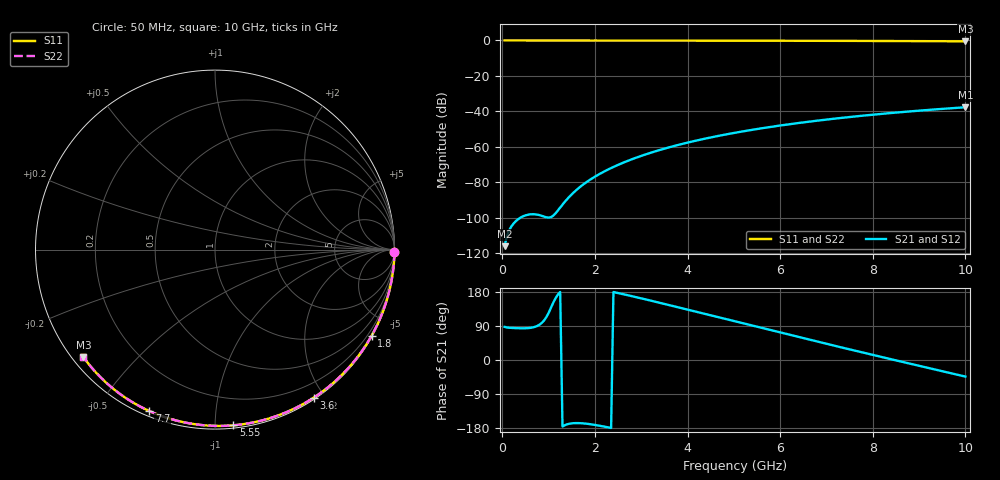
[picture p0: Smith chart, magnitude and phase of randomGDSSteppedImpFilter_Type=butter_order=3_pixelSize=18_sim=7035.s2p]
! freq	dB(S11)	phase(S11)	dB(S12)	phase(S12)
!  dB(S21)	phase(S21)	dB(S22)	phase(S22)
!S-par simulation data
#  GHz  S  DB  R 50
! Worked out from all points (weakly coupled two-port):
!   200 points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, 50 MHz to 10 GHz, reference 50 ohm
!   highest |S21| = -37.68 dB at 10 GHz (marker M1); lowest = -116.1 dB at 50 MHz (marker M2)
!   lowest |S11| = -0.5 dB at 10 GHz (marker M3), VSWR 36.42, Z = 1.55 - j17.8 ohm
!   |S11| at or under -10 dB: nowhere
!   |S22| runs from -0.5 to 0.0 dB; largest |S21 - S12| = 0
!   S11 on the Smith chart (normalised r, x): 50 MHz: open; 1.8 GHz: 0.03, -3.89; 3.6 GHz: 0.02, -1.87; 5.55 GHz: 0.02, -1.11; 7.7 GHz: 0.02, -0.67; 10 GHz: 0.03, -0.36
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0.05  -0.00 -0.8  -116.06 87.4  -116.06 87.4  -0.00 -0.8
0.45  -0.01 -7.3  -99.20 83.6  -99.20 83.6  -0.01 -7.3
0.9  -0.02 -14.6  -99.35 104.0  -99.35 104.0  -0.02 -14.6
1.75  -0.04 -28.1  -81.21 -167.3  -81.21 -167.3  -0.04 -28.1
1.8  -0.04 -28.9  -80.26 -167.9  -80.26 -167.9  -0.04 -28.8
1.85  -0.04 -29.6  -79.36 -168.6  -79.36 -168.6  -0.04 -29.6
2  -0.04 -32.0  -76.86 -171.3  -76.86 -171.3  -0.04 -32.0
2.15  -0.04 -34.3  -74.62 -174.5  -74.62 -174.5  -0.04 -34.3
2.35  -0.05 -37.4  -71.98 -179.4  -71.98 -179.4  -0.05 -37.4
2.55  -0.05 -40.5  -69.62 175.3  -69.62 175.3  -0.05 -40.5
2.95  -0.06 -46.6  -65.58 164.1  -65.58 164.1  -0.06 -46.6
3.4  -0.07 -53.4  -61.80 150.9  -61.80 150.9  -0.07 -53.4
3.6  -0.08 -56.3  -60.31 145.0  -60.31 145.0  -0.08 -56.3
4.3  -0.09 -66.5  -55.84 123.9  -55.84 123.9  -0.09 -66.5
5.05  -0.12 -77.1  -51.96 101.1  -51.96 101.1  -0.12 -77.1
5.55  -0.14 -84.0  -49.76 86.0  -49.76 86.0  -0.14 -84.0
6.1  -0.16 -91.4  -47.62 69.5  -47.62 69.5  -0.16 -91.4
6.7  -0.19 -99.3  -45.57 51.6  -45.57 51.6  -0.19 -99.3
7.7  -0.26 -112.2  -42.66 22.2  -42.66 22.2  -0.26 -112.1
8.35  -0.31 -120.3  -41.04 3.3  -41.04 3.3  -0.31 -120.3
9.2  -0.39 -130.9  -39.19 -21.0  -39.19 -21.0  -0.39 -130.8
10  -0.48 -140.7  -37.68 -43.8  -37.68 -43.8  -0.48 -140.7
